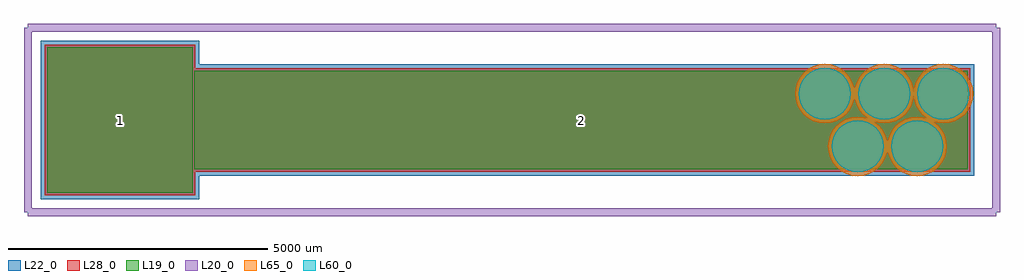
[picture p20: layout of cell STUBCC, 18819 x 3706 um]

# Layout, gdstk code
import gdstk
lib = gdstk.Library(unit=1e-6, precision=1e-09)
def R(c, l, rs):  # rectangles x0, y0, x1, y1
    for r in rs: c.add(gdstk.rectangle(r[:2], r[2:], *l))
def P(c, l, *ps):  # polygons
    for p in ps: c.add(gdstk.Polygon(p, *l))
L19_0 = (19, 0)
L20_0 = (20, 0)
L22_0 = (22, 0)
L28_0 = (28, 0)
L60_0 = (60, 0)
L65_0 = (65, 0)

stubcc = lib.new_cell('STUBCC')
R(stubcc, L19_0, [(-9020.34,-1400.34,-6219.66,1400.34), (-6185.7,-950.76,8725.7,950.76)])
R(stubcc, L22_0, [(-9145.34,-1525.34,-6094.66,1525.34), (-6310.7,-1075.76,8850.7,1075.76)])
P(stubcc, L22_0, [(7687.38,508),(7676.324,620.251),(7643.582,728.188),(7590.411,827.664),(7518.855,914.855),(7431.664,986.411),(7332.188,1039.582),(7224.251,1072.324),(7112,1083.38),(6999.749,1072.324),(6891.812,1039.582),(6792.336,986.411),(6705.145,914.855),(6633.589,827.664),(6580.418,728.188),(6547.676,620.251),(6536.62,508),(6547.676,395.749),(6580.418,287.812),(6633.589,188.336),(6705.145,101.145),(6792.336,29.589),(6891.812,-23.582),(6999.749,-56.324),(7112,-67.38),(7224.251,-56.324),(7332.188,-23.582),(7431.664,29.589),(7518.855,101.145),(7590.411,188.336),(7643.582,287.812),(7676.324,395.749)],
  [(6544.38,508),(6533.324,620.251),(6500.582,728.188),(6447.411,827.664),(6375.855,914.855),(6288.664,986.411),(6189.188,1039.582),(6081.251,1072.324),(5969,1083.38),(5856.749,1072.324),(5748.812,1039.582),(5649.336,986.411),(5562.145,914.855),(5490.589,827.664),(5437.418,728.188),(5404.676,620.251),(5393.62,508),(5404.676,395.749),(5437.418,287.812),(5490.589,188.336),(5562.145,101.145),(5649.336,29.589),(5748.812,-23.582),(5856.749,-56.324),(5969,-67.38),(6081.251,-56.324),(6189.188,-23.582),(6288.664,29.589),(6375.855,101.145),(6447.411,188.336),(6500.582,287.812),(6533.324,395.749)],
  [(7179.38,-508),(7168.324,-395.749),(7135.582,-287.812),(7082.411,-188.336),(7010.855,-101.145),(6923.664,-29.589),(6824.188,23.582),(6716.251,56.324),(6604,67.38),(6491.749,56.324),(6383.812,23.582),(6284.336,-29.589),(6197.145,-101.145),(6125.589,-188.336),(6072.418,-287.812),(6039.676,-395.749),(6028.62,-508),(6039.676,-620.251),(6072.418,-728.188),(6125.589,-827.664),(6197.145,-914.855),(6284.336,-986.411),(6383.812,-1039.582),(6491.749,-1072.324),(6604,-1083.38),(6716.251,-1072.324),(6824.188,-1039.582),(6923.664,-986.411),(7010.855,-914.855),(7082.411,-827.664),(7135.582,-728.188),(7168.324,-620.251)],
  [(8322.38,-508),(8311.324,-395.749),(8278.582,-287.812),(8225.411,-188.336),(8153.855,-101.145),(8066.664,-29.589),(7967.188,23.582),(7859.251,56.324),(7747,67.38),(7634.749,56.324),(7526.812,23.582),(7427.336,-29.589),(7340.145,-101.145),(7268.589,-188.336),(7215.418,-287.812),(7182.676,-395.749),(7171.62,-508),(7182.676,-620.251),(7215.418,-728.188),(7268.589,-827.664),(7340.145,-914.855),(7427.336,-986.411),(7526.812,-1039.582),(7634.749,-1072.324),(7747,-1083.38),(7859.251,-1072.324),(7967.188,-1039.582),(8066.664,-986.411),(8153.855,-914.855),(8225.411,-827.664),(8278.582,-728.188),(8311.324,-620.251)],
  [(8830.38,508),(8819.324,620.251),(8786.582,728.188),(8733.411,827.664),(8661.855,914.855),(8574.664,986.411),(8475.188,1039.582),(8367.251,1072.324),(8255,1083.38),(8142.749,1072.324),(8034.812,1039.582),(7935.336,986.411),(7848.145,914.855),(7776.589,827.664),(7723.418,728.188),(7690.676,620.251),(7679.62,508),(7690.676,395.749),(7723.418,287.812),(7776.589,188.336),(7848.145,101.145),(7935.336,29.589),(8034.812,-23.582),(8142.749,-56.324),(8255,-67.38),(8367.251,-56.324),(8475.188,-23.582),(8574.664,29.589),(8661.855,101.145),(8733.411,188.336),(8786.582,287.812),(8819.324,395.749)])
R(stubcc, L28_0, [(-9070.34,-1450.34,-6169.66,1450.34), (-6235.7,-1000.76,8775.7,1000.76)])
P(stubcc, L28_0, [(7612.38,508),(7602.765,605.619),(7574.291,699.487),(7528.051,785.996),(7465.822,861.822),(7389.996,924.051),(7303.487,970.291),(7209.619,998.765),(7112,1008.38),(7014.381,998.765),(6920.513,970.291),(6834.004,924.051),(6758.178,861.822),(6695.949,785.996),(6649.709,699.487),(6621.235,605.619),(6611.62,508),(6621.235,410.381),(6649.709,316.513),(6695.949,230.004),(6758.178,154.178),(6834.004,91.949),(6920.513,45.709),(7014.381,17.235),(7112,7.62),(7209.619,17.235),(7303.487,45.709),(7389.996,91.949),(7465.822,154.178),(7528.051,230.004),(7574.291,316.513),(7602.765,410.381)],
  [(6469.38,508),(6459.765,605.619),(6431.291,699.487),(6385.051,785.996),(6322.822,861.822),(6246.996,924.051),(6160.487,970.291),(6066.619,998.765),(5969,1008.38),(5871.381,998.765),(5777.513,970.291),(5691.004,924.051),(5615.178,861.822),(5552.949,785.996),(5506.709,699.487),(5478.235,605.619),(5468.62,508),(5478.235,410.381),(5506.709,316.513),(5552.949,230.004),(5615.178,154.178),(5691.004,91.949),(5777.513,45.709),(5871.381,17.235),(5969,7.62),(6066.619,17.235),(6160.487,45.709),(6246.996,91.949),(6322.822,154.178),(6385.051,230.004),(6431.291,316.513),(6459.765,410.381)],
  [(7104.38,-508),(7094.765,-410.381),(7066.291,-316.513),(7020.051,-230.004),(6957.822,-154.178),(6881.996,-91.949),(6795.487,-45.709),(6701.619,-17.235),(6604,-7.62),(6506.381,-17.235),(6412.513,-45.709),(6326.004,-91.949),(6250.178,-154.178),(6187.949,-230.004),(6141.709,-316.513),(6113.235,-410.381),(6103.62,-508),(6113.235,-605.619),(6141.709,-699.487),(6187.949,-785.996),(6250.178,-861.822),(6326.004,-924.051),(6412.513,-970.291),(6506.381,-998.765),(6604,-1008.38),(6701.619,-998.765),(6795.487,-970.291),(6881.996,-924.051),(6957.822,-861.822),(7020.051,-785.996),(7066.291,-699.487),(7094.765,-605.619)],
  [(8247.38,-508),(8237.765,-410.381),(8209.291,-316.513),(8163.051,-230.004),(8100.822,-154.178),(8024.996,-91.949),(7938.487,-45.709),(7844.619,-17.235),(7747,-7.62),(7649.381,-17.235),(7555.513,-45.709),(7469.004,-91.949),(7393.178,-154.178),(7330.949,-230.004),(7284.709,-316.513),(7256.235,-410.381),(7246.62,-508),(7256.235,-605.619),(7284.709,-699.487),(7330.949,-785.996),(7393.178,-861.822),(7469.004,-924.051),(7555.513,-970.291),(7649.381,-998.765),(7747,-1008.38),(7844.619,-998.765),(7938.487,-970.291),(8024.996,-924.051),(8100.822,-861.822),(8163.051,-785.996),(8209.291,-699.487),(8237.765,-605.619)],
  [(8755.38,508),(8745.765,605.619),(8717.291,699.487),(8671.051,785.996),(8608.822,861.822),(8532.996,924.051),(8446.487,970.291),(8352.619,998.765),(8255,1008.38),(8157.381,998.765),(8063.513,970.291),(7977.004,924.051),(7901.178,861.822),(7838.949,785.996),(7792.709,699.487),(7764.235,605.619),(7754.62,508),(7764.235,410.381),(7792.709,316.513),(7838.949,230.004),(7901.178,154.178),(7977.004,91.949),(8063.513,45.709),(8157.381,17.235),(8255,7.62),(8352.619,17.235),(8446.487,45.709),(8532.996,91.949),(8608.822,154.178),(8671.051,230.004),(8717.291,316.513),(8745.765,410.381)])
P(stubcc, L60_0, [(7612.38,508),(7602.765,605.619),(7574.291,699.487),(7528.051,785.996),(7465.822,861.822),(7389.996,924.051),(7303.487,970.291),(7209.619,998.765),(7112,1008.38),(7014.381,998.765),(6920.513,970.291),(6834.004,924.051),(6758.178,861.822),(6695.949,785.996),(6649.709,699.487),(6621.235,605.619),(6611.62,508),(6621.235,410.381),(6649.709,316.513),(6695.949,230.004),(6758.178,154.178),(6834.004,91.949),(6920.513,45.709),(7014.381,17.235),(7112,7.62),(7209.619,17.235),(7303.487,45.709),(7389.996,91.949),(7465.822,154.178),(7528.051,230.004),(7574.291,316.513),(7602.765,410.381)],
  [(6469.38,508),(6459.765,605.619),(6431.291,699.487),(6385.051,785.996),(6322.822,861.822),(6246.996,924.051),(6160.487,970.291),(6066.619,998.765),(5969,1008.38),(5871.381,998.765),(5777.513,970.291),(5691.004,924.051),(5615.178,861.822),(5552.949,785.996),(5506.709,699.487),(5478.235,605.619),(5468.62,508),(5478.235,410.381),(5506.709,316.513),(5552.949,230.004),(5615.178,154.178),(5691.004,91.949),(5777.513,45.709),(5871.381,17.235),(5969,7.62),(6066.619,17.235),(6160.487,45.709),(6246.996,91.949),(6322.822,154.178),(6385.051,230.004),(6431.291,316.513),(6459.765,410.381)],
  [(7104.38,-508),(7094.765,-410.381),(7066.291,-316.513),(7020.051,-230.004),(6957.822,-154.178),(6881.996,-91.949),(6795.487,-45.709),(6701.619,-17.235),(6604,-7.62),(6506.381,-17.235),(6412.513,-45.709),(6326.004,-91.949),(6250.178,-154.178),(6187.949,-230.004),(6141.709,-316.513),(6113.235,-410.381),(6103.62,-508),(6113.235,-605.619),(6141.709,-699.487),(6187.949,-785.996),(6250.178,-861.822),(6326.004,-924.051),(6412.513,-970.291),(6506.381,-998.765),(6604,-1008.38),(6701.619,-998.765),(6795.487,-970.291),(6881.996,-924.051),(6957.822,-861.822),(7020.051,-785.996),(7066.291,-699.487),(7094.765,-605.619)],
  [(8247.38,-508),(8237.765,-410.381),(8209.291,-316.513),(8163.051,-230.004),(8100.822,-154.178),(8024.996,-91.949),(7938.487,-45.709),(7844.619,-17.235),(7747,-7.62),(7649.381,-17.235),(7555.513,-45.709),(7469.004,-91.949),(7393.178,-154.178),(7330.949,-230.004),(7284.709,-316.513),(7256.235,-410.381),(7246.62,-508),(7256.235,-605.619),(7284.709,-699.487),(7330.949,-785.996),(7393.178,-861.822),(7469.004,-924.051),(7555.513,-970.291),(7649.381,-998.765),(7747,-1008.38),(7844.619,-998.765),(7938.487,-970.291),(8024.996,-924.051),(8100.822,-861.822),(8163.051,-785.996),(8209.291,-699.487),(8237.765,-605.619)],
  [(8755.38,508),(8745.765,605.619),(8717.291,699.487),(8671.051,785.996),(8608.822,861.822),(8532.996,924.051),(8446.487,970.291),(8352.619,998.765),(8255,1008.38),(8157.381,998.765),(8063.513,970.291),(7977.004,924.051),(7901.178,861.822),(7838.949,785.996),(7792.709,699.487),(7764.235,605.619),(7754.62,508),(7764.235,410.381),(7792.709,316.513),(7838.949,230.004),(7901.178,154.178),(7977.004,91.949),(8063.513,45.709),(8157.381,17.235),(8255,7.62),(8352.619,17.235),(8446.487,45.709),(8532.996,91.949),(8608.822,154.178),(8671.051,230.004),(8717.291,316.513),(8745.765,410.381)])
P(stubcc, L65_0, [(7687.38,508),(7676.324,620.251),(7643.582,728.188),(7590.411,827.664),(7518.855,914.855),(7431.664,986.411),(7332.188,1039.582),(7224.251,1072.324),(7112,1083.38),(6999.749,1072.324),(6891.812,1039.582),(6792.336,986.411),(6705.145,914.855),(6633.589,827.664),(6580.418,728.188),(6547.676,620.251),(6536.62,508),(6547.676,395.749),(6580.418,287.812),(6633.589,188.336),(6705.145,101.145),(6792.336,29.589),(6891.812,-23.582),(6999.749,-56.324),(7112,-67.38),(7224.251,-56.324),(7332.188,-23.582),(7431.664,29.589),(7518.855,101.145),(7590.411,188.336),(7643.582,287.812),(7676.324,395.749)],
  [(6544.38,508),(6533.324,620.251),(6500.582,728.188),(6447.411,827.664),(6375.855,914.855),(6288.664,986.411),(6189.188,1039.582),(6081.251,1072.324),(5969,1083.38),(5856.749,1072.324),(5748.812,1039.582),(5649.336,986.411),(5562.145,914.855),(5490.589,827.664),(5437.418,728.188),(5404.676,620.251),(5393.62,508),(5404.676,395.749),(5437.418,287.812),(5490.589,188.336),(5562.145,101.145),(5649.336,29.589),(5748.812,-23.582),(5856.749,-56.324),(5969,-67.38),(6081.251,-56.324),(6189.188,-23.582),(6288.664,29.589),(6375.855,101.145),(6447.411,188.336),(6500.582,287.812),(6533.324,395.749)],
  [(7179.38,-508),(7168.324,-395.749),(7135.582,-287.812),(7082.411,-188.336),(7010.855,-101.145),(6923.664,-29.589),(6824.188,23.582),(6716.251,56.324),(6604,67.38),(6491.749,56.324),(6383.812,23.582),(6284.336,-29.589),(6197.145,-101.145),(6125.589,-188.336),(6072.418,-287.812),(6039.676,-395.749),(6028.62,-508),(6039.676,-620.251),(6072.418,-728.188),(6125.589,-827.664),(6197.145,-914.855),(6284.336,-986.411),(6383.812,-1039.582),(6491.749,-1072.324),(6604,-1083.38),(6716.251,-1072.324),(6824.188,-1039.582),(6923.664,-986.411),(7010.855,-914.855),(7082.411,-827.664),(7135.582,-728.188),(7168.324,-620.251)],
  [(8322.38,-508),(8311.324,-395.749),(8278.582,-287.812),(8225.411,-188.336),(8153.855,-101.145),(8066.664,-29.589),(7967.188,23.582),(7859.251,56.324),(7747,67.38),(7634.749,56.324),(7526.812,23.582),(7427.336,-29.589),(7340.145,-101.145),(7268.589,-188.336),(7215.418,-287.812),(7182.676,-395.749),(7171.62,-508),(7182.676,-620.251),(7215.418,-728.188),(7268.589,-827.664),(7340.145,-914.855),(7427.336,-986.411),(7526.812,-1039.582),(7634.749,-1072.324),(7747,-1083.38),(7859.251,-1072.324),(7967.188,-1039.582),(8066.664,-986.411),(8153.855,-914.855),(8225.411,-827.664),(8278.582,-728.188),(8311.324,-620.251)],
  [(8830.38,508),(8819.324,620.251),(8786.582,728.188),(8733.411,827.664),(8661.855,914.855),(8574.664,986.411),(8475.188,1039.582),(8367.251,1072.324),(8255,1083.38),(8142.749,1072.324),(8034.812,1039.582),(7935.336,986.411),(7848.145,914.855),(7776.589,827.664),(7723.418,728.188),(7690.676,620.251),(7679.62,508),(7690.676,395.749),(7723.418,287.812),(7776.589,188.336),(7848.145,101.145),(7935.336,29.589),(8034.812,-23.582),(8142.749,-56.324),(8255,-67.38),(8367.251,-56.324),(8475.188,-23.582),(8574.664,29.589),(8661.855,101.145),(8733.411,188.336),(8786.582,287.812),(8819.324,395.749)])
stubcc.add(gdstk.FlexPath([(9271,1778),(9271,-1778)], 149.998, ends="flush", simple_path=True, layer=20, datatype=0))  # L20_0
stubcc.add(gdstk.FlexPath([(9271,1778),(-9398,1778)], 149.998, ends="flush", simple_path=True, layer=20, datatype=0))  # L20_0
stubcc.add(gdstk.FlexPath([(-9398,-1778),(9271,-1778)], 149.998, ends="flush", simple_path=True, layer=20, datatype=0))  # L20_0
stubcc.add(gdstk.FlexPath([(-9398,1778),(-9398,-1778)], 149.998, ends="flush", simple_path=True, layer=20, datatype=0))  # L20_0
stubcc.add(gdstk.Label('1', (-7620,0), layer=28, texttype=0))
stubcc.add(gdstk.Label('2', (1270,0), layer=28, texttype=0))
stubcc.add(gdstk.Label('type', (4191,-2921), layer=9, texttype=0))
stubcc.add(gdstk.Label('devicename', (-4826,-2921), layer=9, texttype=0))

lib.write_gds('STUBCC.gds')
